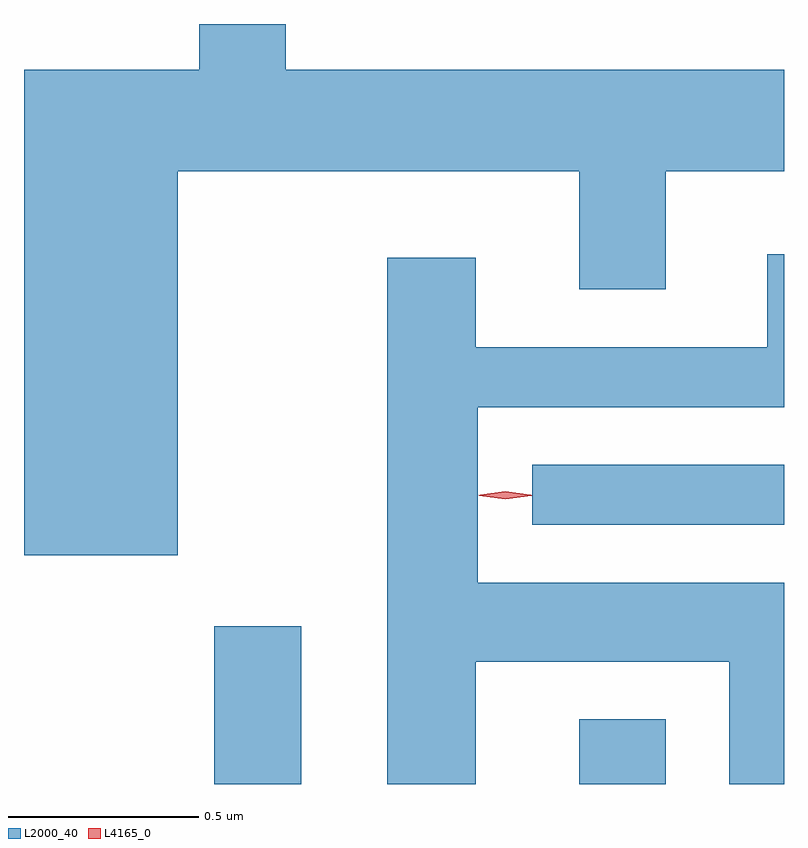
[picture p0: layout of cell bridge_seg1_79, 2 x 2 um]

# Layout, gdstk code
import gdstk
lib = gdstk.Library(unit=1e-6, precision=1e-09)
def R(c, l, rs):  # rectangles x0, y0, x1, y1
    for r in rs: c.add(gdstk.rectangle(r[:2], r[2:], *l))
def P(c, l, *ps):  # polygons
    for p in ps: c.add(gdstk.Polygon(p, *l))
L2000_40 = (2000, 40)
L4165_0 = (4165, 0)

bridge_seg1_79 = lib.new_cell('bridge_seg1_79')
R(bridge_seg1_79, L2000_40, [(1207.551,951.244,1207.779,951.659), (1208.511,951.244,1208.739,951.414), (1208.388,951.926,1209.05,952.084)])
P(bridge_seg1_79, L2000_40, [(1207.454,952.856),(1208.511,952.856),(1208.511,952.546),(1208.739,952.546),(1208.739,952.856),(1209.05,952.856),(1209.05,953.124),(1207.739,953.124),(1207.739,953.244),(1207.511,953.244),(1207.511,953.124),(1207.05,953.124),(1207.05,951.846),(1207.454,951.846)],
  [(1208.239,951.566),(1208.906,951.566),(1208.906,951.244),(1209.05,951.244),(1209.05,951.774),(1208.244,951.774),(1208.244,952.236),(1209.05,952.236),(1209.05,952.638),(1209.006,952.638),(1209.006,952.394),(1208.239,952.394),(1208.239,952.629),(1208.006,952.629),(1208.006,951.244),(1208.239,951.244)])
P(bridge_seg1_79, L4165_0, [(1208.317,951.994),(1208.248,952.003),(1208.247,952.004),(1208.248,952.004),(1208.317,952.014),(1208.386,952.004),(1208.386,952.004),(1208.386,952.003)],
  [(1208.317,951.995),(1208.251,952.004),(1208.25,952.005),(1208.251,952.005),(1208.317,952.015),(1208.382,952.005),(1208.383,952.005),(1208.382,952.004)])

lib.write_gds('bridge_seg1_79.gds')
